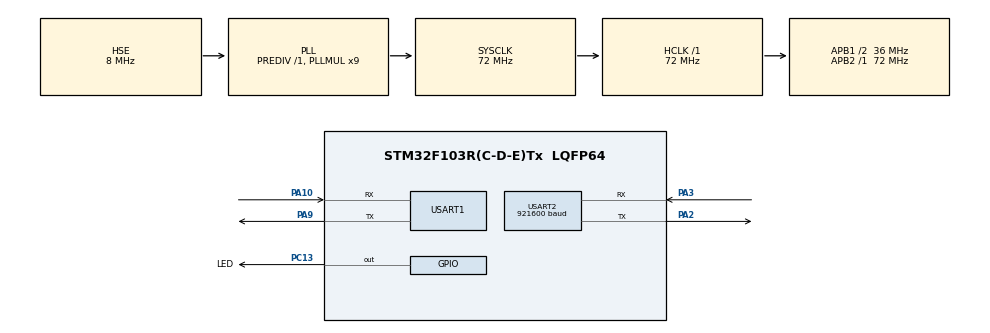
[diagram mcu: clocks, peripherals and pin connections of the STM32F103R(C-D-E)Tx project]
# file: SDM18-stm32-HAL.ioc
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Mcu.Family=STM32F1
Mcu.Name=STM32F103R(C-D-E)Tx
Mcu.Package=LQFP64
NVIC.PriorityGroup=NVIC_PRIORITYGROUP_2
NVIC.USART2_IRQn=true\:1\:0\:true\:false\:true\:true\:true\:true
PA10.Mode=Asynchronous
PA10.Signal=USART1_RX
PA13.Mode=Serial_Wire
PA13.Signal=SYS_JTMS-SWDIO
PA14.Mode=Serial_Wire
PA14.Signal=SYS_JTCK-SWCLK
PA2.Mode=Asynchronous
PA2.Signal=USART2_TX
PA3.Mode=Asynchronous
PA3.Signal=USART2_RX
PA9.Mode=Asynchronous
PA9.Signal=USART1_TX
PC13-TAMPER-RTC.GPIO_Label=LED
PC13-TAMPER-RTC.GPIO_Speed=GPIO_SPEED_FREQ_MEDIUM
PC13-TAMPER-RTC.PinState=GPIO_PIN_SET
PC13-TAMPER-RTC.Signal=GPIO_Output
PD0-OSC_IN.Mode=HSE-External-Oscillator
PD0-OSC_IN.Signal=RCC_OSC_IN
PD1-OSC_OUT.Mode=HSE-External-Oscillator
PD1-OSC_OUT.Signal=RCC_OSC_OUT
ProjectManager.HeapSize=0x200
ProjectManager.StackSize=0x400
ProjectManager.TargetToolchain=MDK-ARM V5.32
RCC.AHBFreq_Value=72000000
RCC.APB1CLKDivider=RCC_HCLK_DIV2
RCC.APB1Freq_Value=36000000
RCC.APB1TimFreq_Value=72000000
RCC.APB2Freq_Value=72000000
RCC.APB2TimFreq_Value=72000000
RCC.HCLKFreq_Value=72000000
RCC.PLLMUL=RCC_PLL_MUL9
RCC.PLLSourceVirtual=RCC_PLLSOURCE_HSE
RCC.SYSCLKFreq_VALUE=72000000
RCC.SYSCLKSource=RCC_SYSCLKSOURCE_PLLCLK
RCC.USBFreq_Value=72000000
USART1.VirtualMode=VM_ASYNC
USART2.BaudRate=921600
USART2.VirtualMode=VM_ASYNC
board=custom

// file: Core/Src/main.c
/* USER CODE BEGIN Header */
/**
  ******************************************************************************
  * @file           : main.c
  * @brief          : 新型钻具机构控制系统
  *                   - 激光雷达测距控制内管升降
  *                   - 内管到位400mm停止
  *                   - 到位后才开始卡芯/满芯判断
  *                   - 卡芯/满芯时反转上提到800mm
  ******************************************************************************
  */
/* USER CODE END Header */
#include "main.h"
#include "usart.h"
#include "gpio.h"

/* USER CODE BEGIN Includes */
#include <stdbool.h>
#include <stdio.h>
#include <string.h>
/* USER CODE END Includes */

/* USER CODE BEGIN PD */
// 电机引脚定义
#define MOTOR_EN_PIN   GPIO_PIN_5      // 使能引脚
#define MOTOR_STP_PIN  GPIO_PIN_6      // 脉冲引脚
#define MOTOR_DIR_PIN  GPIO_PIN_7      // 方向引脚
#define MOTOR_PORT     GPIOA

// 钻具工作模式
#define MODE_IDLE       0    // 空闲
#define MODE_DOWN       1    // 正转下钻
#define MODE_UP         2    // 反转上提
#define MODE_PAUSE      3    // 暂停
#define MODE_WAIT       4    // 到位等待（判断卡芯/满芯）

// 距离阈值定义（单位：mm）
#define THRESHOLD_GROUND    800     // 地面上阈值（内管在顶部）
#define THRESHOLD_IN_PLACE  400     // 内管到位阈值（到此停止）
#define THRESHOLD_FULL      100     // 满芯阈值（小于100mm为满）
#define THRESHOLD_STUCK     10      // 卡芯判断差值（10mm以内为卡）

// 数组大小定义
#define DIST_ARRAY_SIZE     10      // 10个相邻测距的数组

// 时间定义（单位：ms）
#define MEASURE_INTERVAL    100     // 100ms测一次距离
#define PAUSE_TIME          3000    // 暂停3秒
#define PULSE_SPEED         1       // 1ms脉冲
/* USER CODE END PD */

/* USER CODE BEGIN PV */
// 电机控制变量
__IO int32_t pulse_count = 0;           // 脉冲计数
__IO uint8_t motor_status = MODE_IDLE;   // 电机当前状态
__IO uint32_t last_pulse_tick = 0;       // 上次脉冲时间

// 钻具控制变量
__IO uint8_t drill_mode = MODE_IDLE;     // 钻具工作模式
__IO uint32_t pause_start_time = 0;      // 暂停开始时间
__IO uint8_t pause_trigger_reason = 0;   // 暂停原因：1-卡芯 2-满芯

// 重要：标记当前是否在反转上提阶段
__IO uint8_t is_reversing = 0;           // 0-不是反转 1-正在反转上提

// 到位标记：表示已经到达400mm，开始卡芯/满芯判断
__IO uint8_t is_in_place = 0;            // 0-未到位 1-已到位

// 测距数组（用于卡芯和满芯判断）
__IO uint16_t dist_array[DIST_ARRAY_SIZE] = {0};  // 存储10个距离值
__IO uint8_t dist_array_index = 0;                 // 数组当前索引
__IO uint8_t dist_array_full = 0;                   // 数组是否已填满

// 传感器距离（从sdm18.c获取）
extern uint16_t gSDM18_Distance;
/* USER CODE END PV */

void SystemClock_Config(void);
/* USER CODE BEGIN PFP */
// 函数声明
void Motor_GPIO_Init(void);
void Motor_Set_Direction(uint8_t dir);
void Motor_Generate_Pulse(void);
void Drill_Control(uint16_t dist);
void Update_Distance_Array(uint16_t dist);
uint8_t Check_Stuck(void);
uint8_t Check_Full(void);
void Print_Status(uint16_t dist);
/* USER CODE END PFP */

int main(void)
{

  HAL_Init();
  SystemClock_Config();
  MX_GPIO_Init();
  MX_USART1_UART_Init();
  MX_USART2_UART_Init();

  /* USER CODE BEGIN 2 */
  BSP_init();  // 传感器初始化

  // 电机GPIO初始化
  Motor_GPIO_Init();

  // 清空距离数组
  memset((void*)dist_array, 0, sizeof(dist_array));

  printf("\r\n====================================\r\n");
  printf("新型钻具机构控制系统启动\r\n");
  printf("阈值设置：到位=%dmm(停止) 满芯=<%dmm 卡芯差值<%dmm\r\n",
         THRESHOLD_IN_PLACE, THRESHOLD_FULL, THRESHOLD_STUCK);
  printf("地面阈值：%dmm(反转停止)\r\n", THRESHOLD_GROUND);
  printf("测距间隔：%dms\r\n", MEASURE_INTERVAL);
  printf("====================================\r\n\r\n");
  /* USER CODE END 2 */

  /* Infinite loop */
  /* USER CODE BEGIN WHILE */
  while (1)
  {
    BSP_Loop();  // 处理传感器数据（会更新gSDM18_Distance）

    // 产生电机脉冲
    Motor_Generate_Pulse();

    // 每100ms执行一次控制逻辑
    static uint32_t last_control = 0;
    if(HAL_GetTick() - last_control >= MEASURE_INTERVAL)
    {
        last_control = HAL_GetTick();

        // 获取当前距离值
        uint16_t current_dist = gSDM18_Distance;

        // 更新距离数组（用于卡芯和满芯判断）
        Update_Distance_Array(current_dist);

        // 执行钻具控制逻辑
        Drill_Control(current_dist);

        // 串口打印状态
        Print_Status(current_dist);
    }

    /* USER CODE END WHILE */
  }
}

void SystemClock_Config(void)
{
  RCC_OscInitTypeDef RCC_OscInitStruct = {0};
  RCC_ClkInitTypeDef RCC_ClkInitStruct = {0};

  RCC_OscInitStruct.OscillatorType = RCC_OSCILLATORTYPE_HSE;
  RCC_OscInitStruct.HSEState = RCC_HSE_ON;
  RCC_OscInitStruct.HSEPredivValue = RCC_HSE_PREDIV_DIV1;
  RCC_OscInitStruct.HSIState = RCC_HSI_ON;
  RCC_OscInitStruct.PLL.PLLState = RCC_PLL_ON;
  RCC_OscInitStruct.PLL.PLLSource = RCC_PLLSOURCE_HSE;
  RCC_OscInitStruct.PLL.PLLMUL = RCC_PLL_MUL9;
  if (HAL_RCC_OscConfig(&RCC_OscInitStruct) != HAL_OK)
  {
    Error_Handler();
  }

  RCC_ClkInitStruct.ClockType = RCC_CLOCKTYPE_HCLK|RCC_CLOCKTYPE_SYSCLK
                              |RCC_CLOCKTYPE_PCLK1|RCC_CLOCKTYPE_PCLK2;
  RCC_ClkInitStruct.SYSCLKSource = RCC_SYSCLKSOURCE_PLLCLK;
  RCC_ClkInitStruct.AHBCLKDivider = RCC_SYSCLK_DIV1;
  RCC_ClkInitStruct.APB1CLKDivider = RCC_HCLK_DIV2;
  RCC_ClkInitStruct.APB2CLKDivider = RCC_HCLK_DIV1;

  if (HAL_RCC_ClockConfig(&RCC_ClkInitStruct, FLASH_LATENCY_2) != HAL_OK)
  {
    Error_Handler();
  }
}

/* USER CODE BEGIN 4 */

/**
  * @brief 电机GPIO初始化
  */
void Motor_GPIO_Init(void)
{
    __HAL_RCC_GPIOA_CLK_ENABLE();

    GPIO_InitTypeDef GPIO_InitStruct = {0};
    GPIO_InitStruct.Pin = MOTOR_EN_PIN | MOTOR_STP_PIN | MOTOR_DIR_PIN;
    GPIO_InitStruct.Mode = GPIO_MODE_OUTPUT_PP;
    GPIO_InitStruct.Pull = GPIO_NOPULL;
    GPIO_InitStruct.Speed = GPIO_SPEED_FREQ_LOW;
    HAL_GPIO_Init(MOTOR_PORT, &GPIO_InitStruct);

    // 初始状态：使能有效，脉冲低，方向默认
    HAL_GPIO_WritePin(MOTOR_PORT, MOTOR_EN_PIN, GPIO_PIN_SET);   // 使能
    HAL_GPIO_WritePin(MOTOR_PORT, MOTOR_STP_PIN, GPIO_PIN_RESET); // 脉冲低
    HAL_GPIO_WritePin(MOTOR_PORT, MOTOR_DIR_PIN, GPIO_PIN_RESET); // 方向默认
}

/**
  * @brief 设置电机方向
  * @param dir: MODE_DOWN-下钻(正转)  MODE_UP-上提(反转)
  */
void Motor_Set_Direction(uint8_t dir)
{
    if(dir == MODE_DOWN)
    {
        HAL_GPIO_WritePin(MOTOR_PORT, MOTOR_DIR_PIN, GPIO_PIN_SET);   // 正转下钻
    }
    else if(dir == MODE_UP)
    {
        HAL_GPIO_WritePin(MOTOR_PORT, MOTOR_DIR_PIN, GPIO_PIN_RESET); // 反转上提
    }
}

/**
  * @brief 产生电机脉冲
  */
void Motor_Generate_Pulse(void)
{
    // 只有下钻或上提模式才发脉冲
    if(motor_status != MODE_DOWN && motor_status != MODE_UP)
        return;

    // 1ms产生一个脉冲
    if(HAL_GetTick() - last_pulse_tick >= 1)
    {
        last_pulse_tick = HAL_GetTick();
        HAL_GPIO_TogglePin(MOTOR_PORT, MOTOR_STP_PIN);
        pulse_count++;
    }
}

/**
  * @brief 更新距离数组（环形缓冲区）
  * @param dist: 当前距离值
  */
void Update_Distance_Array(uint16_t dist)
{
    // 将新距离存入数组当前位置
    dist_array[dist_array_index] = dist;

    // 更新索引（循环0-9）
    dist_array_index++;
    if(dist_array_index >= DIST_ARRAY_SIZE)
    {
        dist_array_index = 0;
        dist_array_full = 1;  // 标记数组已填满一次
    }
}

/**
  * @brief 检查是否卡芯
  * @retval 1-卡芯  0-正常
  */
uint8_t Check_Stuck(void)
{
    // 如果数组还没填满，无法判断
    if(!dist_array_full)
        return 0;

    // 找出数组中的最大值和最小值
    uint16_t max_dist = 0;
    uint16_t min_dist = 65535;

    for(int i = 0; i < DIST_ARRAY_SIZE; i++)
    {
        if(dist_array[i] > max_dist)
            max_dist = dist_array[i];
        if(dist_array[i] < min_dist)
            min_dist = dist_array[i];
    }

    // 计算差值
    uint16_t diff = max_dist - min_dist;

    // 如果差值小于阈值，说明距离变化很小 → 可能卡芯
    if(diff < THRESHOLD_STUCK)
    {
        return 1;
    }

    return 0;
}

/**
  * @brief 检查是否满芯
  * @retval 1-满芯  0-未满
  */
uint8_t Check_Full(void)
{
    // 如果数组还没填满，无法判断
    if(!dist_array_full)
        return 0;

    // 检查是否所有距离都小于满芯阈值
    for(int i = 0; i < DIST_ARRAY_SIZE; i++)
    {
        if(dist_array[i] >= THRESHOLD_FULL)
            return 0;  // 有一个大于等于阈值就不算满
    }

    return 1;
}

/**
  * @brief 钻具控制主逻辑
  * @param dist: 当前距离值(mm)
  *
  * 逻辑说明：
  * 1. 距离>400mm：正转下钻
  * 2. 距离<=400mm：停止（内管到位），并标记is_in_place=1
  * 3. 到位后开始卡芯/满芯判断
  * 4. 卡芯/满芯时：暂停3秒 → 反转上提到800mm
  * 5. 反转阶段：必须到800mm才停止
  */
void Drill_Control(uint16_t dist)
{
    // 如果距离为0（还没收到有效数据），不动作
    if(dist == 0) return;

    /********** 第一步：处理暂停状态 **********/
    if(drill_mode == MODE_PAUSE)
    {
        // 检查是否到达暂停时间
        if(HAL_GetTick() - pause_start_time >= PAUSE_TIME)
        {
            // 暂停结束，开始反转上提
            drill_mode = MODE_UP;
            motor_status = MODE_UP;
            is_reversing = 1;  // 标记为反转阶段
            is_in_place = 0;    // 离开到位状态
            Motor_Set_Direction(MODE_UP);
            printf("⬆️ 暂停结束，反转上提（目标%dmm）\r\n", THRESHOLD_GROUND);
        }
        return;  // 暂停中不执行其他判断
    }

    /********** 第二步：检查是否在地面阈值（最高优先级） **********/
    if(dist >= THRESHOLD_GROUND)
    {
        // 到达地面阈值，无论什么状态都停止
        if(drill_mode != MODE_IDLE || is_reversing != 0)
        {
            drill_mode = MODE_IDLE;
            motor_status = MODE_IDLE;
            is_reversing = 0;  // 清除反转标记
            is_in_place = 0;    // 清除到位标记
            HAL_GPIO_WritePin(MOTOR_PORT, MOTOR_STP_PIN, GPIO_PIN_RESET);
            printf("🏁 到达地面阈值 %dmm，停止\r\n", THRESHOLD_GROUND);
            printf("----------------------------------------\r\n");
        }
        return;
    }

    /********** 第三步：如果正在反转阶段，继续反转直到地面 **********/
    if(is_reversing == 1)
    {
        // 反转阶段只关心是否到达地面阈值（上面已判断）
        // 没到地面就继续反转
        if(drill_mode != MODE_UP)
        {
            drill_mode = MODE_UP;
            motor_status = MODE_UP;
            Motor_Set_Direction(MODE_UP);
        }
        return;  // 直接返回，不执行到位判断
    }

    /********** 第四步：判断是否到位（<=400mm） **********/
    if(dist <= THRESHOLD_IN_PLACE)
    {
        // 内管到位，停止电机
        if(drill_mode != MODE_IDLE)
        {
            drill_mode = MODE_IDLE;
            motor_status = MODE_IDLE;
            HAL_GPIO_WritePin(MOTOR_PORT, MOTOR_STP_PIN, GPIO_PIN_RESET);
            printf("⏹️ 内管到位 %dmm，停止\r\n", dist);
        }

        // 标记为到位状态
        if(is_in_place == 0)
        {
            is_in_place = 1;
            printf("🔍 开始卡芯/满芯监测...\r\n");
        }

        /********** 第五步：到位后才进行卡芯/满芯判断 **********/
        if(is_in_place == 1)
        {
            // 检查满芯
            if(Check_Full())
            {
                drill_mode = MODE_PAUSE;
                motor_status = MODE_IDLE;
                pause_start_time = HAL_GetTick();
                pause_trigger_reason = 2;
                printf("⏸️ 满芯！暂停3秒后反转上提\r\n");
                return;
            }

            // 检查卡芯
            if(Check_Stuck())
            {
                drill_mode = MODE_PAUSE;
                motor_status = MODE_IDLE;
                pause_start_time = HAL_GetTick();
                pause_trigger_reason = 1;
                printf("⚠️ 卡芯！暂停3秒后反转上提\r\n");
                return;
            }
        }

        return;  // 到位且无异常，保持停止
    }

    /********** 第六步：距离>400mm，还没到位 **********/
    if(dist > THRESHOLD_IN_PLACE)
    {
        // 还没到位，正常下钻
        if(drill_mode != MODE_DOWN)
        {
            drill_mode = MODE_DOWN;
            motor_status = MODE_DOWN;
            is_in_place = 0;  // 清除到位标记
            Motor_Set_Direction(MODE_DOWN);
            printf("⬇️ 距离=%dmm > %dmm，正转下钻\r\n", dist, THRESHOLD_IN_PLACE);
        }
    }
}

/**
  * @brief 串口打印状态信息
  * @param dist: 当前距离值
  */
void Print_Status(uint16_t dist)
{
    static uint32_t last_print = 0;

    // 每100ms打印一次
    if(HAL_GetTick() - last_print >= MEASURE_INTERVAL)
    {
        last_print = HAL_GetTick();

        // 获取数组最大最小值和平均值
        uint16_t max_d = 0, min_d = 65535;
        uint32_t sum_d = 0;  // 用于计算平均值
        uint16_t avg_d = 0;

        for(int i = 0; i < DIST_ARRAY_SIZE; i++)
        {
            if(dist_array[i] > max_d) max_d = dist_array[i];
            if(dist_array[i] < min_d) min_d = dist_array[i];
            sum_d += dist_array[i];
        }

        // 计算平均值（如果数组已填满）
        if(dist_array_full)
        {
            avg_d = sum_d / DIST_ARRAY_SIZE;
        }
        else
        {
            avg_d = 0;  // 数组还没填满，平均值为0
        }

        // 模式字符串
        char *mode_str = "";
        switch(drill_mode)
        {
            case MODE_IDLE:   mode_str = "空闲"; break;
            case MODE_DOWN:   mode_str = "下钻"; break;
            case MODE_UP:     mode_str = "上提"; break;
            case MODE_PAUSE:  mode_str = "暂停"; break;
        }

        // 打印格式：距离 | 模式 | 到位标记 | 反转标记 | 平均值 | 差值
        printf("[%03d] dist=%4dmm | %s |到位=%d|rev=%d| avg=%3dmm| diff=%2dmm\r\n",
               (HAL_GetTick()/1000)%1000,
               dist,
               mode_str,
               is_in_place,
               is_reversing,
               avg_d,
               max_d - min_d);
    }
}
/* USER CODE END 4 */

void Error_Handler(void)
{
  __disable_irq();
  while (1) {}
}
